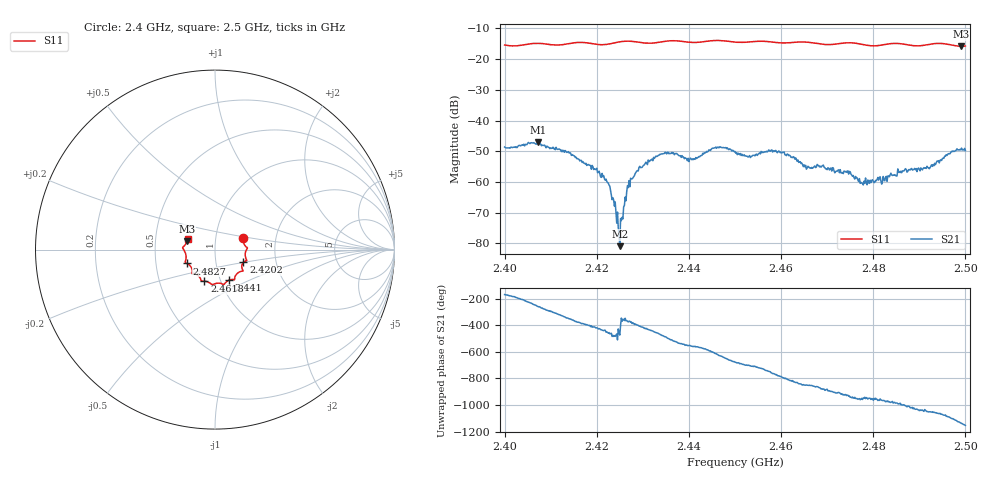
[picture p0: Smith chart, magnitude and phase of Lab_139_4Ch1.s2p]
# Hz S RI R 50
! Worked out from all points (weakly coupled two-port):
!   601 points, 2.4 GHz to 2.5 GHz, reference 50 ohm
!   highest |S21| = -47.05 dB at 2.4073 GHz (marker M1); lowest = -80.9 dB at 2.425 GHz (marker M2)
!   lowest |S11| = -15.8 dB at 2.499 GHz (marker M3), VSWR 1.39, Z = 36.4 + j3.48 ohm
!   |S11| at or under -10 dB: start of sweep to end of sweep
!   S12 and S22 are empty: the file has one direction only
!   S11 on the Smith chart (normalised r, x): 2.4 GHz: 1.36, +0.18; 2.4202 GHz: 1.36, -0.20; 2.441 GHz: 1.10, -0.39; 2.4618 GHz: 0.84, -0.30; 2.4827 GHz: 0.72, -0.11; 2.5 GHz: 0.73, +0.09
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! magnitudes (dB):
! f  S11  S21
! 2.4 GHz  -15.4  -48.6
! 2.4073 GHz  -14.8  -47.1
! 2.4167 GHz  -14.5  -53.0
! 2.4202 GHz  -15.2  -57.0
! 2.4225 GHz  -15.1  -60.4
! 2.424 GHz  -14.6  -66.5
! 2.4245 GHz  -14.5  -69.8
! 2.425 GHz  -14.3  -80.9
! 2.4272 GHz  -14.1  -61.6
! 2.4333 GHz  -14.5  -51.4
! 2.441 GHz  -14.6  -52.7
! 2.4457 GHz  -13.9  -48.9
! 2.45 GHz  -14.4  -50.1
! 2.4618 GHz  -14.6  -51.3
! 2.4667 GHz  -14.6  -55.3
! 2.4745 GHz  -14.7  -56.4
! 2.4777 GHz  -15.2  -60.5
! 2.4827 GHz  -15.2  -58.5
! 2.4833 GHz  -15.0  -58.0
! 2.4923 GHz  -15.1  -55.4
! 2.499 GHz  -15.8  -49.5
! 2.5 GHz  -15.7  -49.8
